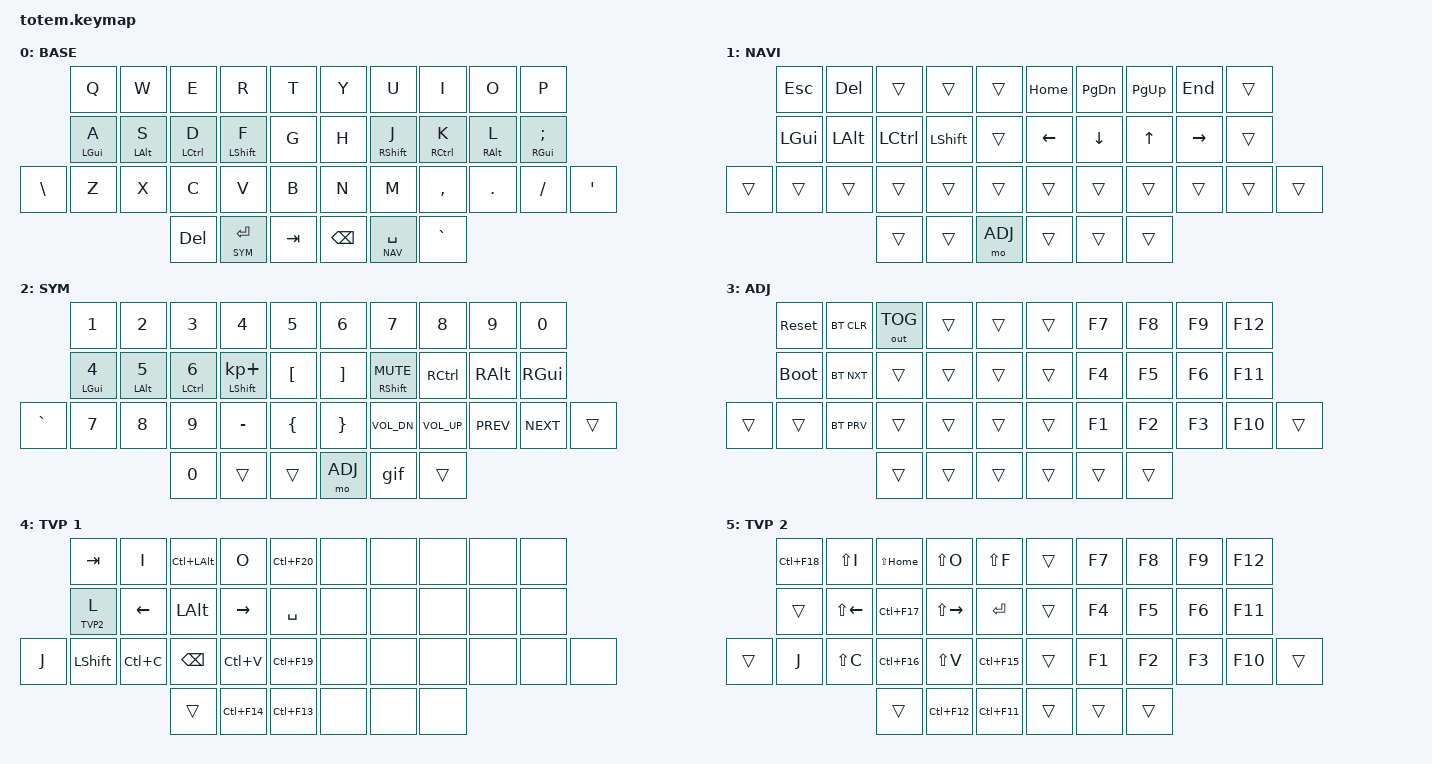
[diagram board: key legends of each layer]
//
//                                                        ▀▀▀▀▀     ▀▀▀▀▀          ▀▀█▀▀
//                                                        ▄▀▀▀▄  ▄  ▄▀▀▀▄  ▄  ▄▀▀▀▄  █  ▄▀▀▀▄
//                                                        █   █  █  █   █  █  █   █  █  █   █
//                                                         ▀▀▀   █   ▀▀▀   █   ▀▀▀   ▀   ▀▀▀
//                                                               █      ▄▄▄█▄▄▄    █   █  
//                                                               ▀      █  █  █     █▄█
//                                                             ▀▀▀▀▀    █  █  █      ▀
//                                                                      ▀  ▀  ▀
//
// ▄▄▄▄▄▄▄▄▄▄▄▄▄▄▄▄▄▄▄▄▄▄▄▄▄▄▄▄▄▄▄▄▄▄▄▄▄▄▄▄▄▄▄▄▄▄▄▄▄▄▄▄▄▄▄▄▄▄▄▄▄▄▄▄▄▄▄▄▄▄▄▄▄▄▄▄▄▄▄▄▄▄▄▄▄▄▄▄▄▄▄▄▄▄▄▄▄▄▄▄▄▄▄▄▄▄▄▄▄▄▄▄▄▄▄▄▄▄▄▄▄▄▄▄▄▄▄▄▄▄▄▄▄▄▄▄▄▄▄▄▄▄▄▄▄▄▄▄▄
       

#include <behaviors.dtsi>
#include <dt-bindings/zmk/keys.h>
#include <dt-bindings/zmk/bt.h>
#include <dt-bindings/zmk/outputs.h>

#define BASE 0
#define NAV  1
#define SYM  2
#define ADJ  3
#define TVP1 4
#define TVP2 5

&mt {
  quick-tap-ms = <100>;
  global-quick-tap;
  flavor = "tap-preferred";
  tapping-term-ms = <170>;
};

/ {
     combos {
            compatible = "zmk,combos";
            combo_esc {
                timeout-ms = <50>;
                key-positions = <0 1>;
                bindings = <&kp ESC>;
            };
            combo_tvp {
                timeout-ms = <100>;
                key-positions = <11 12 13>;
                bindings = <&tog TVP1>;
            };
    };

    macros {
        gif: gif {
            label = "giphy";
            compatible = "zmk,behavior-macro";
            #binding-cells = <0>;
            bindings
                = <&macro_press &kp LSHFT>
                , <&macro_tap &kp N2>
                , <&macro_release &kp LSHFT>
                , <&macro_tap &kp G &kp I &kp F>
                ;
        };
    };

        keymap {
                compatible = "zmk,keymap";
// ▄▄▄▄▄▄▄▄▄▄▄▄▄▄▄▄▄▄▄▄▄▄▄▄▄▄▄▄▄▄▄▄▄▄▄▄▄▄▄▄▄▄▄▄▄▄▄▄▄▄▄▄▄▄▄▄▄▄▄▄▄▄▄▄▄▄▄▄▄▄▄▄▄▄▄▄▄▄▄▄▄▄▄▄▄▄▄▄▄▄▄▄▄▄▄▄▄▄▄▄▄▄▄▄▄▄▄▄▄▄▄▄▄▄▄▄▄▄▄▄▄▄▄▄▄▄▄▄▄▄▄▄▄▄▄▄▄▄▄▄▄▄▄▄▄▄▄▄▄

                base_layer {
// ┏━━━━━━━━━━━━━━━━━━━━━━━━━━━━━━━━━━━━━━━┓
label= "BASE"                              ;
// ┗━━━━━━━━━━━━━━━━━━━━━━━━━━━━━━━━━━━━━━━┛
//             ┏━━━━━━━━━━━┳━━━━━━━━━━━┳━━━━━━━━━━━┳━━━━━━━━━━━┳━━━━━━━━━━━┓   ┏━━━━━━━━━━━┳━━━━━━━━━━━┳━━━━━━━━━━━┳━━━━━━━━━━━┳━━━━━━━━━━━┓
//             ┃     Q     ┃     W     ┃     E     ┃     R     ┃     T     ┃   ┃     Y     ┃     U     ┃     I     ┃     O     ┃     P     ┃
//             ┣━━━━━━━━━━━╋━━━━━━━━━━━╋━━━━━━━━━━━╋━━━━━━━━━━━╋━━━━━━━━━━━┫   ┣━━━━━━━━━━━╋━━━━━━━━━━━╋━━━━━━━━━━━╋━━━━━━━━━━━╋━━━━━━━━━━━┫
//             ┃     A     ┃     S     ┃     D     ┃     F     ┃     G     ┃   ┃     H     ┃     J     ┃     K     ┃     L     ┃     ;     ┃
// ┏━━━━━━━━━━━╋━━━━━━━━━━━╋━━━━━━━━━━━╋━━━━━━━━━━━╋━━━━━━━━━━━╋━━━━━━━━━━━┫   ┣━━━━━━━━━━━╋━━━━━━━━━━━╋━━━━━━━━━━━╋━━━━━━━━━━━╋━━━━━━━━━━━╋━━━━━━━━━━━┓
// ┃     \     ┃     Z     ┃     X     ┃     C     ┃     V     ┃     B     ┃   ┃     N     ┃     M     ┃     ,     ┃     .     ┃     /     ┃     '     ┃
// ┗━━━━━━━━━━━┻━━━━━━━━━━━┻━━━━━━━━━━━╋━━━━━━━━━━━╋━━━━━━━━━━━╋━━━━━━━━━━━┫   ┣━━━━━━━━━━━╋━━━━━━━━━━━╋━━━━━━━━━━━╋━━━━━━━━━━━┻━━━━━━━━━━━┻━━━━━━━━━━━┛
//                                     ┃    DEL    ┃   ENTER   ┃    TAB    ┃   ┃   BSPC    ┃    SPC    ┃     `     ┃
//                                     ┗━━━━━━━━━━━┻━━━━━━━━━━━┻━━━━━━━━━━━┛   ┗━━━━━━━━━━━┻━━━━━━━━━━━┻━━━━━━━━━━━┛
 bindings = <
// ╷           ╷           ╷           ╷           ╷           ╷           ╷   ╷           ╷           ╷           ╷           ╷           ╷           ╷

                &kp Q       &kp W       &kp E       &kp R       &kp T           &kp Y       &kp U       &kp I       &kp O       &kp P
                &mt LGUI A  &mt LALT S  &mt LCTRL D &mt LSHFT F &kp G           &kp H       &mt RSHFT J &mt RCTRL K &mt RALT L  &mt RGUI SEMI
    &kp BSLH    &kp Z       &kp X       &kp C       &kp V       &kp B           &kp N       &kp M       &kp COMMA   &kp DOT     &kp FSLH    &kp SQT
                                        &kp DEL   &lt SYM RET   &kp TAB         &kp BSPC    &lt NAV SPC &kp GRAVE
                        >;
                };

// ▄▄▄▄▄▄▄▄▄▄▄▄▄▄▄▄▄▄▄▄▄▄▄▄▄▄▄▄▄▄▄▄▄▄▄▄▄▄▄▄▄▄▄▄▄▄▄▄▄▄▄▄▄▄▄▄▄▄▄▄▄▄▄▄▄▄▄▄▄▄▄▄▄▄▄▄▄▄▄▄▄▄▄▄▄▄▄▄▄▄▄▄▄▄▄▄▄▄▄▄▄▄▄▄▄▄▄▄▄▄▄▄▄▄▄▄▄▄▄▄▄▄▄▄▄▄▄▄▄▄▄▄▄▄▄▄▄▄▄▄▄▄▄▄▄▄▄▄▄


                nav_layer {
// ┏━━━━━━━━━━━━━━━━━━━━━━━━━━━━━━━━━━━━━━━┓
label= "NAVI"                              ;
// ┗━━━━━━━━━━━━━━━━━━━━━━━━━━━━━━━━━━━━━━━┛
//             ┏━━━━━━━━━━━┳━━━━━━━━━━━┳━━━━━━━━━━━┳━━━━━━━━━━━┳━━━━━━━━━━━┓   ┏━━━━━━━━━━━┳━━━━━━━━━━━┳━━━━━━━━━━━┳━━━━━━━━━━━┳━━━━━━━━━━━┓
//             ┃    ESC    ┃    DEL    ┃           ┃           ┃           ┃   ┃   HOME    ┃   P DOWN  ┃    P UP   ┃    END    ┃           ┃
//             ┣━━━━━━━━━━━╋━━━━━━━━━━━╋━━━━━━━━━━━╋━━━━━━━━━━━╋━━━━━━━━━━━┫   ┣━━━━━━━━━━━╋━━━━━━━━━━━╋━━━━━━━━━━━╋━━━━━━━━━━━╋━━━━━━━━━━━┫
//             ┃   LGUI    ┃   LALT    ┃    LCTRL  ┃   LSHFT   ┃           ┃   ┃   LEFT    ┃    DOWN   ┃     UP    ┃   RIGHT   ┃           ┃
// ┏━━━━━━━━━━━╋━━━━━━━━━━━╋━━━━━━━━━━━╋━━━━━━━━━━━╋━━━━━━━━━━━╋━━━━━━━━━━━┫   ┣━━━━━━━━━━━╋━━━━━━━━━━━╋━━━━━━━━━━━╋━━━━━━━━━━━╋━━━━━━━━━━━╋━━━━━━━━━━━┓
// ┃           ┃           ┃           ┃           ┃           ┃           ┃   ┃           ┃           ┃           ┃           ┃           ┃           ┃
// ┗━━━━━━━━━━━┻━━━━━━━━━━━┻━━━━━━━━━━━╋━━━━━━━━━━━╋━━━━━━━━━━━╋━━━━━━━━━━━┫   ┣━━━━━━━━━━━╋━━━━━━━━━━━╋━━━━━━━━━━━╋━━━━━━━━━━━┻━━━━━━━━━━━┻━━━━━━━━━━━┛
//                                     ┃           ┃           ┃    ADJ    ┃   ┃           ┃           ┃           ┃
//                                     ┗━━━━━━━━━━━┻━━━━━━━━━━━┻━━━━━━━━━━━┛   ┗━━━━━━━━━━━┻━━━━━━━━━━━┻━━━━━━━━━━━┛
 bindings = <
// ╷           ╷           ╷           ╷           ╷           ╷           ╷   ╷           ╷           ╷           ╷           ╷           ╷           ╷

                &kp ESC     &kp DEL     &trans      &trans      &trans          &kp HOME    &kp PG_DN   &kp PG_UP   &kp END     &trans
                &kp LGUI    &kp LALT    &kp LCTRL   &kp LSHFT   &trans          &kp LEFT    &kp DOWN    &kp UP      &kp RIGHT   &trans
    &trans      &trans      &trans      &trans      &trans      &trans          &trans      &trans      &trans      &trans      &trans          &trans
                                        &trans      &trans      &mo ADJ         &trans      &trans      &trans

                        >;
                };

// ▄▄▄▄▄▄▄▄▄▄▄▄▄▄▄▄▄▄▄▄▄▄▄▄▄▄▄▄▄▄▄▄▄▄▄▄▄▄▄▄▄▄▄▄▄▄▄▄▄▄▄▄▄▄▄▄▄▄▄▄▄▄▄▄▄▄▄▄▄▄▄▄▄▄▄▄▄▄▄▄▄▄▄▄▄▄▄▄▄▄▄▄▄▄▄▄▄▄▄▄▄▄▄▄▄▄▄▄▄▄▄▄▄▄▄▄▄▄▄▄▄▄▄▄▄▄▄▄▄▄▄▄▄▄▄▄▄▄▄▄▄▄▄▄▄▄▄▄▄


                sim_layer {
// ┏━━━━━━━━━━━━━━━━━━━━━━━━━━━━━━━━━━━━━━━┓
label= "SYM"                               ;
// ┗━━━━━━━━━━━━━━━━━━━━━━━━━━━━━━━━━━━━━━━┛
//             ┏━━━━━━━━━━━┳━━━━━━━━━━━┳━━━━━━━━━━━┳━━━━━━━━━━━┳━━━━━━━━━━━┓   ┏━━━━━━━━━━━┳━━━━━━━━━━━┳━━━━━━━━━━━┳━━━━━━━━━━━┳━━━━━━━━━━━┓
//             ┃     1     ┃     2     ┃     3     ┃     4     ┃     5     ┃   ┃     6     ┃     7     ┃     8     ┃     9     ┃     0     ┃
//             ┣━━━━━━━━━━━╋━━━━━━━━━━━╋━━━━━━━━━━━╋━━━━━━━━━━━╋━━━━━━━━━━━┫   ┣━━━━━━━━━━━╋━━━━━━━━━━━╋━━━━━━━━━━━╋━━━━━━━━━━━╋━━━━━━━━━━━┫
//             ┃     4     ┃     5     ┃     6     ┃     +     ┃     [     ┃   ┃     ]     ┃   MUTE    ┃   RCTRL   ┃   RALT    ┃    RGUI   ┃
// ┏━━━━━━━━━━━╋━━━━━━━━━━━╋━━━━━━━━━━━╋━━━━━━━━━━━╋━━━━━━━━━━━╋━━━━━━━━━━━┫   ┣━━━━━━━━━━━╋━━━━━━━━━━━╋━━━━━━━━━━━╋━━━━━━━━━━━╋━━━━━━━━━━━╋━━━━━━━━━━━┓
// ┃    `      ┃     7     ┃     8     ┃     9     ┃     -     ┃     {     ┃   ┃     }     ┃   VOL-    ┃   VOL+    ┃   LAST    ┃   NEXT    ┃           ┃
// ┗━━━━━━━━━━━┻━━━━━━━━━━━┻━━━━━━━━━━━╋━━━━━━━━━━━╋━━━━━━━━━━━╋━━━━━━━━━━━┫   ┣━━━━━━━━━━━╋━━━━━━━━━━━╋━━━━━━━━━━━╋━━━━━━━━━━━┻━━━━━━━━━━━┻━━━━━━━━━━━┛
//                                     ┃     0     ┃           ┃           ┃   ┃    ADJ    ┃    GIF    ┃           ┃
//                                     ┗━━━━━━━━━━━┻━━━━━━━━━━━┻━━━━━━━━━━━┛   ┗━━━━━━━━━━━┻━━━━━━━━━━━┻━━━━━━━━━━━┛
 bindings = <
// ╷           ╷           ╷           ╷           ╷           ╷           ╷   ╷           ╷           ╷           ╷           ╷           ╷           ╷

                &kp N1      &kp N2      &kp N3      &kp N4      &kp N5          &kp N6      &kp N7      &kp N8      &kp N9       &kp N0
                &mt LGUI N4 &mt LALT N5 &mt LCTRL N6 &mt LSHFT KP_PLUS &kp LBKT &kp RBKT    &mt RSHFT C_MUTE  &kp RCTRL &kp RALT &kp RGUI
    &kp GRAVE   &kp N7      &kp N8      &kp N9      &kp MINUS   &kp LBRC        &kp RBRC    &kp C_VOL_DN &kp C_VOL_UP &kp C_PREV &kp C_NEXT  &trans
                                        &kp N0      &trans      &trans          &mo ADJ     &gif        &trans
                        >;
                };

// ▄▄▄▄▄▄▄▄▄▄▄▄▄▄▄▄▄▄▄▄▄▄▄▄▄▄▄▄▄▄▄▄▄▄▄▄▄▄▄▄▄▄▄▄▄▄▄▄▄▄▄▄▄▄▄▄▄▄▄▄▄▄▄▄▄▄▄▄▄▄▄▄▄▄▄▄▄▄▄▄▄▄▄▄▄▄▄▄▄▄▄▄▄▄▄▄▄▄▄▄▄▄▄▄▄▄▄▄▄▄▄▄▄▄▄▄▄▄▄▄▄▄▄▄▄▄▄▄▄▄▄▄▄▄▄▄▄▄▄▄▄▄▄▄▄▄▄▄▄


                adjust_layer {
// ┏━━━━━━━━━━━━━━━━━━━━━━━━━━━━━━━━━━━━━━━┓
label= "ADJ"                               ;
// ┗━━━━━━━━━━━━━━━━━━━━━━━━━━━━━━━━━━━━━━━┛
//             ┏━━━━━━━━━━━┳━━━━━━━━━━━┳━━━━━━━━━━━┳━━━━━━━━━━━┳━━━━━━━━━━━┓   ┏━━━━━━━━━━━┳━━━━━━━━━━━┳━━━━━━━━━━━┳━━━━━━━━━━━┳━━━━━━━━━━━┓
//             ┃   RESET   ┃ BT CLEAR  ┃  OUT TOG  ┃           ┃           ┃   ┃           ┃    F7     ┃    F8     ┃    F9     ┃    F12    ┃
//             ┣━━━━━━━━━━━╋━━━━━━━━━━━╋━━━━━━━━━━━╋━━━━━━━━━━━╋━━━━━━━━━━━┫   ┣━━━━━━━━━━━╋━━━━━━━━━━━╋━━━━━━━━━━━╋━━━━━━━━━━━╋━━━━━━━━━━━┫
//             ┃ BOOTLOAD  ┃ BT NEXT   ┃           ┃           ┃           ┃   ┃           ┃    F4     ┃    F5     ┃    F6     ┃    F11    ┃
// ┏━━━━━━━━━━━╋━━━━━━━━━━━╋━━━━━━━━━━━╋━━━━━━━━━━━╋━━━━━━━━━━━╋━━━━━━━━━━━┫   ┣━━━━━━━━━━━╋━━━━━━━━━━━╋━━━━━━━━━━━╋━━━━━━━━━━━╋━━━━━━━━━━━╋━━━━━━━━━━━┓
// ┃           ┃           ┃ BT PREV   ┃           ┃           ┃           ┃   ┃           ┃    F1     ┃    F2     ┃    F3     ┃    F10    ┃           ┃
// ┗━━━━━━━━━━━┻━━━━━━━━━━━┻━━━━━━━━━━━╋━━━━━━━━━━━╋━━━━━━━━━━━╋━━━━━━━━━━━┫   ┣━━━━━━━━━━━╋━━━━━━━━━━━╋━━━━━━━━━━━╋━━━━━━━━━━━┻━━━━━━━━━━━┻━━━━━━━━━━━┛
//                                     ┃           ┃           ┃           ┃   ┃           ┃           ┃           ┃
//                                     ┗━━━━━━━━━━━┻━━━━━━━━━━━┻━━━━━━━━━━━┛   ┗━━━━━━━━━━━┻━━━━━━━━━━━┻━━━━━━━━━━━┛
 bindings = <
// ╷           ╷           ╷           ╷           ╷           ╷           ╷   ╷           ╷           ╷           ╷           ╷           ╷           ╷

                &sys_reset  &bt BT_CLR &out OUT_TOG &trans      &trans          &trans      &kp F7      &kp F8      &kp F9      &kp F12
                &bootloader &bt BT_NXT  &trans      &trans      &trans          &trans      &kp F4      &kp F5      &kp F6      &kp F11  
    &trans      &trans      &bt BT_PRV  &trans      &trans      &trans          &trans      &kp F1      &kp F2      &kp F3      &kp F10     &trans         
                                        &trans      &trans      &trans          &trans      &trans      &trans      
                        >;
                };

// ▄▄▄▄▄▄▄▄▄▄▄▄▄▄▄▄▄▄▄▄▄▄▄▄▄▄▄▄▄▄▄▄▄▄▄▄▄▄▄▄▄▄▄▄▄▄▄▄▄▄▄▄▄▄▄▄▄▄▄▄▄▄▄▄▄▄▄▄▄▄▄▄▄▄▄▄▄▄▄▄▄▄▄▄▄▄▄▄▄▄▄▄▄▄▄▄▄▄▄▄▄▄▄▄▄▄▄▄▄▄▄▄▄▄▄▄▄▄▄▄▄▄▄▄▄▄▄▄▄▄▄▄▄▄▄▄▄▄▄▄▄▄▄▄▄▄▄▄▄


                tvp1_layer {
// ┏━━━━━━━━━━━━━━━━━━━━━━━━━━━━━━━━━━━━━━━┓
label= "TVP 1"                             ;
// ┗━━━━━━━━━━━━━━━━━━━━━━━━━━━━━━━━━━━━━━━┛
//             ┏━━━━━━━━━━━┳━━━━━━━━━━━┳━━━━━━━━━━━┳━━━━━━━━━━━┳━━━━━━━━━━━┓   ┏━━━━━━━━━━━┳━━━━━━━━━━━┳━━━━━━━━━━━┳━━━━━━━━━━━┳━━━━━━━━━━━┓
//             ┃ NEXT FILE ┃ MARK IN   ┃ ROTATE    ┃ MARK OUT  ┃ SHOW SNAP ┃   ┃           ┃           ┃           ┃           ┃           ┃
//             ┣━━━━━━━━━━━╋━━━━━━━━━━━╋━━━━━━━━━━━╋━━━━━━━━━━━╋━━━━━━━━━━━┫   ┣━━━━━━━━━━━╋━━━━━━━━━━━╋━━━━━━━━━━━╋━━━━━━━━━━━╋━━━━━━━━━━━┫
//             ┃ TVP II    ┃ LEFT      ┃ PAN       ┃ RIGHT     ┃ PLAY/FLIP ┃   ┃           ┃           ┃           ┃           ┃           ┃
// ┏━━━━━━━━━━━╋━━━━━━━━━━━╋━━━━━━━━━━━╋━━━━━━━━━━━╋━━━━━━━━━━━╋━━━━━━━━━━━┫   ┣━━━━━━━━━━━╋━━━━━━━━━━━╋━━━━━━━━━━━╋━━━━━━━━━━━╋━━━━━━━━━━━╋━━━━━━━━━━━┓
// ┃ FULLSCR   ┃ SHIFT     ┃ COPY      ┃ DELETE    ┃ PASTE     ┃ IMG MARK  ┃   ┃           ┃           ┃           ┃           ┃           ┃           ┃
// ┗━━━━━━━━━━━┻━━━━━━━━━━━┻━━━━━━━━━━━╋━━━━━━━━━━━╋━━━━━━━━━━━╋━━━━━━━━━━━┫   ┣━━━━━━━━━━━╋━━━━━━━━━━━╋━━━━━━━━━━━╋━━━━━━━━━━━┻━━━━━━━━━━━┻━━━━━━━━━━━┛
//                                     ┃           ┃ UNDO/SAVE ┃  SEL/MOV  ┃   ┃           ┃           ┃           ┃
//                                     ┗━━━━━━━━━━━┻━━━━━━━━━━━┻━━━━━━━━━━━┛   ┗━━━━━━━━━━━┻━━━━━━━━━━━┻━━━━━━━━━━━┛
 bindings = <
// ╷           ╷           ╷           ╷           ╷           ╷           ╷   ╷           ╷           ╷           ╷           ╷           ╷           ╷

                &kp TAB     &kp I       &kp LC(LALT) &kp O      &kp LC(F20)     &none       &none       &none       &none       &none
                &lt TVP2 L  &kp LEFT    &kp LALT    &kp RIGHT   &kp SPACE       &none       &none       &none       &none       &none
    &kp J       &kp LSHFT   &kp LC(C)   &kp BSPC    &kp LC(V)   &kp LC(F19)     &none       &none       &none       &none       &none       &none        
                                        &trans      &kp LC(F14) &kp LC(F13)     &none       &none       &none    
                        >;
                };

// ▄▄▄▄▄▄▄▄▄▄▄▄▄▄▄▄▄▄▄▄▄▄▄▄▄▄▄▄▄▄▄▄▄▄▄▄▄▄▄▄▄▄▄▄▄▄▄▄▄▄▄▄▄▄▄▄▄▄▄▄▄▄▄▄▄▄▄▄▄▄▄▄▄▄▄▄▄▄▄▄▄▄▄▄▄▄▄▄▄▄▄▄▄▄▄▄▄▄▄▄▄▄▄▄▄▄▄▄▄▄▄▄▄▄▄▄▄▄▄▄▄▄▄▄▄▄▄▄▄▄▄▄▄▄▄▄▄▄▄▄▄▄▄▄▄▄▄▄▄


                tvp2_layer {
// ┏━━━━━━━━━━━━━━━━━━━━━━━━━━━━━━━━━━━━━━━┓
label= "TVP 2"                             ;
// ┗━━━━━━━━━━━━━━━━━━━━━━━━━━━━━━━━━━━━━━━┛
//             ┏━━━━━━━━━━━┳━━━━━━━━━━━┳━━━━━━━━━━━┳━━━━━━━━━━━┳━━━━━━━━━━━┓   ┏━━━━━━━━━━━┳━━━━━━━━━━━┳━━━━━━━━━━━┳━━━━━━━━━━━┳━━━━━━━━━━━┓
//             ┃ SOLO      ┃ TOGGLE IN ┃ RESET ROT ┃ TOGGLE OUT┃ TAKE SNAP ┃   ┃           ┃           ┃           ┃           ┃           ┃
//             ┣━━━━━━━━━━━╋━━━━━━━━━━━╋━━━━━━━━━━━╋━━━━━━━━━━━╋━━━━━━━━━━━┫   ┣━━━━━━━━━━━╋━━━━━━━━━━━╋━━━━━━━━━━━╋━━━━━━━━━━━╋━━━━━━━━━━━┫
//             ┃ ---       ┃ LAST KEY  ┃ NEW KEY   ┃ NEXT KEY  ┃ ENTER     ┃   ┃           ┃           ┃           ┃           ┃           ┃
// ┏━━━━━━━━━━━╋━━━━━━━━━━━╋━━━━━━━━━━━╋━━━━━━━━━━━╋━━━━━━━━━━━╋━━━━━━━━━━━┫   ┣━━━━━━━━━━━╋━━━━━━━━━━━╋━━━━━━━━━━━╋━━━━━━━━━━━╋━━━━━━━━━━━╋━━━━━━━━━━━┓
// ┃           ┃ FULLSCR   ┃ CPY2BRUSH ┃ DEL HEAD  ┃ PSTinPLACE┃ BOOK MARK ┃   ┃           ┃           ┃           ┃           ┃           ┃           ┃
// ┗━━━━━━━━━━━┻━━━━━━━━━━━┻━━━━━━━━━━━╋━━━━━━━━━━━╋━━━━━━━━━━━╋━━━━━━━━━━━┫   ┣━━━━━━━━━━━╋━━━━━━━━━━━╋━━━━━━━━━━━╋━━━━━━━━━━━┻━━━━━━━━━━━┻━━━━━━━━━━━┛
//                                     ┃           ┃ REDO/SAV1 ┃TRANS/WARP ┃   ┃           ┃           ┃           ┃
//                                     ┗━━━━━━━━━━━┻━━━━━━━━━━━┻━━━━━━━━━━━┛   ┗━━━━━━━━━━━┻━━━━━━━━━━━┻━━━━━━━━━━━┛
 bindings = <
// ╷           ╷           ╷           ╷           ╷           ╷           ╷   ╷           ╷           ╷           ╷           ╷           ╷           ╷

                &kp LC(F18) &kp LS(I)  &kp LS(HOME) &kp LS(O)   &kp LS(F)       &trans      &kp F7      &kp F8      &kp F9      &kp F12
                &trans      &kp LS(LEFT) &kp LC(F17) &kp LS(RIGHT) &kp RET      &trans      &kp F4      &kp F5      &kp F6      &kp F11  
    &trans      &kp J       &kp LS(C)   &kp LC(F16) &kp LS(V)   &kp LC(F15)     &trans      &kp F1      &kp F2      &kp F3      &kp F10     &trans         
                                        &trans      &kp LC(F12) &kp LC(F11)     &trans      &trans      &trans      
                        >;
                };
        };
};
